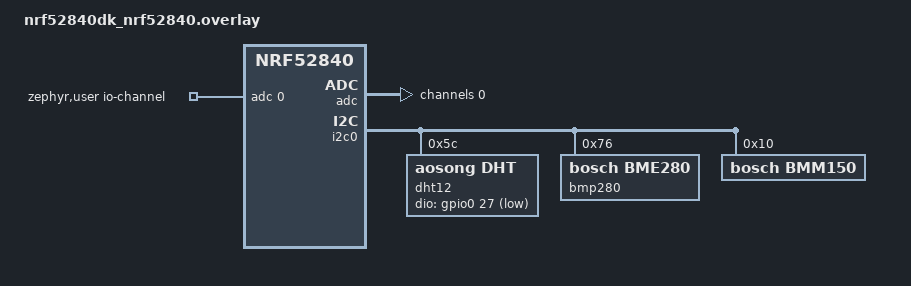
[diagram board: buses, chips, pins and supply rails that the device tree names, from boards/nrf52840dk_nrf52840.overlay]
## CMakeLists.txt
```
# SPDX-License-Identifier: Apache-2.0

cmake_minimum_required(VERSION 3.20.0)
find_package(Zephyr REQUIRED HINTS $ENV{ZEPHYR_BASE})
project(odysseus_chartreusse_sensor_node)

# Including all of the source files
FILE(GLOB app_sources src/*.c)

target_sources(app PRIVATE ${app_sources})
```

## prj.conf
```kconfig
# Enable Bluetooth
CONFIG_BT=y
CONFIG_BT_SHELL=y
CONFIG_BT_DEVICE_NAME="SensorNode-ODYSSEUS_CHARTREUSE"
CONFIG_BT_PERIPHERAL=y
CONFIG_BT_OBSERVER=y
#CONFIG_BT_BROADCASTER=y
CONFIG_BT_EXT_ADV=y

CONFIG_BT_EXT_ADV_MAX_ADV_SET=2
CONFIG_BT_USER_PHY_UPDATE=y
CONFIG_BT_CTLR_ADVANCED_FEATURES=y
# Enable Advertising Data chaining in Zephyr Bluetooth LE Controller
CONFIG_BT_CTLR_ADV_DATA_CHAIN=y
CONFIG_BT_CTLR_ADV_DATA_LEN_MAX=1650
# Increase Advertising PDU buffers to number of advertising sets times the
# number of chain PDUs per advertising set when using Zephyr Bluetooth LE
# Controller
CONFIG_BT_CTLR_ADV_DATA_BUF_MAX=16
# Maximum Extended Scanning buffer size
CONFIG_BT_EXT_SCAN_BUF_SIZE=1650
# Set maximum scan data length for Extended Scanning in Bluetooth LE Controller
CONFIG_BT_CTLR_SCAN_DATA_LEN_MAX=1650
# The Zephyr Controller does not combine all the 1650 bytes before
# fragmenting into 8 HCI reports, if a PDU has 255 bytes,
# it will generate 2 HCI reports and so we need to reserve 16 buffers. Was 16.
CONFIG_BT_BUF_EVT_RX_COUNT=16
# Increase Zephyr Bluetooth LE Controller Rx buffer to receive complete chain of PDUs. Was 9
CONFIG_BT_CTLR_RX_BUFFERS=16
CONFIG_MAIN_STACK_SIZE=4096

# Enable Sensing
CONFIG_SENSOR=y
CONFIG_GPIO=y
CONFIG_DHT=y
CONFIG_BME280=y
CONFIG_BMM150=y
CONFIG_BMM150_PRESET_REGULAR=y

# General
CONFIG_LOG=y
CONFIG_LOG_CMDS=y
CONFIG_I2C=y
CONFIG_ADC=y
CONFIG_SHELL=y
CONFIG_I2C_SHELL=y
CONFIG_ADC_SHELL=y
CONFIG_SENSOR_SHELL=y
#CONFIG_ASSERT=y
```

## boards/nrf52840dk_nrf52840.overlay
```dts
&adc {
	#address-cells = <1>;
	#size-cells = <0>;

	channel@0 {
		reg = <0>;
		zephyr,gain = "ADC_GAIN_1_2";
		zephyr,reference = "ADC_REF_INTERNAL";
		zephyr,acquisition-time = <ADC_ACQ_TIME_DEFAULT>;
		zephyr,input-positive = <NRF_SAADC_AIN1>; /* P0.03 */
		zephyr,resolution = <12>;
	};
};

&i2c0 {
	ht0: dht@5c {
		compatible = "aosong,dht";
		label = "dht12";
		reg = <0x5c>;
		dio-gpios = <&gpio0 27 (GPIO_ACTIVE_LOW | GPIO_PULL_UP)>;
		status = "okay";
	};
	
	press0: bmp280@76 {
		compatible = "bosch,bme280";
		label = "bmp280";
		reg = <0x76>;
		status = "okay";
		//supply-gpios = <&gpio0 27 GPIO_ACTIVE_HIGH>;
	};
	
	mag0: bmm150@10 {
		compatible = "bosch,bmm150";
		label = "bmm150";
		reg = <0x10>;
		status = "okay";
		//supply-gpios = <&gpio0 27 GPIO_ACTIVE_HIGH>;
		//drdy-gpios = <&gpio0 26 GPIO_ACTIVE_HIGH>;
	};
};

/ {
	zephyr,user {
		io-channels = <&adc 0>;//, <&adc 1>, <&adc 7>;
	};

	aliases {
		ht0 = &ht0;
		press0 = &press0;
	};
};
```

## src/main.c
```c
#include <zephyr/kernel.h>
#include <zephyr/logging/log.h>

#include "bt_handler.h"
#include "rb_sync.h"
#include "sensors.h"
#include "sys_time.h"

LOG_MODULE_REGISTER(Main);

extern struct k_msgq sample_stream;

int main(void) {
	SensorLoad sl;

	while(1) {
		if(rbs_data_available()) {
			if(!rbs_get(&sl)) {
				k_msgq_put(&sample_stream, &sl, K_FOREVER);
				LOG_INF("Sensors:\r\n-----\r\nTime: %d\r\nReading Index: %d\r\nSoil Moisture: %d\r\nTemperature: %d\r\nPressure: %d\r\n",
						sl.timestamp, sl.counter, sl.soil_moisture, sl.temp, sl.pressure + (100 * 1000));
			}
		}
		k_msleep(1000);
	}
}
```

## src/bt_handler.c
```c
#include "bt_handler.h"
#include "zephyr/bluetooth/gap.h"

LOG_MODULE_REGISTER(BluetoothHandler);

K_SEM_DEFINE(config_data, 1, 1); // Semaphore for synchronization
K_MSGQ_DEFINE(sample_stream, sizeof(SensorLoad), 10, 1);

uint8_t polling_flag = 1; // Determines poll rate, ignored for now 

// Custom sensor data payload, length + 5 bytes < 255
__aligned(4) static uint8_t adv_payload[PAYLOAD_SIZE] = {0};  
// To use max of 1650, define multuple adv_payloads, and add in ad[] below (TBD)
__aligned(4) static uint8_t adv_payload_two[PAYLOAD_SIZE] = {0}; // For future use
__aligned(4) static uint8_t adv_payload_three[PAYLOAD_SIZE] = {0}; // For future use
// static uint8_t adv_payload_4[240]; // For future use

uint8_t* payloads[NUM_PAYLOADS] = {adv_payload, adv_payload_two, adv_payload_three};

static struct bt_data ad[] = {
    BT_DATA_BYTES(BT_DATA_FLAGS, (BT_LE_AD_GENERAL | BT_LE_AD_NO_BREDR)),
    BT_DATA(BT_DATA_NAME_COMPLETE, DEVICE_NAME, sizeof(DEVICE_NAME) - 1),
    BT_DATA(BT_DATA_MANUFACTURER_DATA, adv_payload, sizeof(adv_payload)),
    BT_DATA(BT_DATA_MANUFACTURER_DATA, adv_payload_two, sizeof(adv_payload_two)),
    BT_DATA(BT_DATA_MANUFACTURER_DATA, adv_payload_three, sizeof(adv_payload_three)),
    // BT_DATA(BT_DATA_MANUFACTURER_DATA, adv_payload_4, sizeof(adv_payload_4)),
};

// void shit_me_out(void) {
// 	for(int i = 0; i < NUM_PAYLOADS; i++) {
// 		for(int j = 0; j < PAYLOAD_SIZE; j++) {
// 			printk("%02x ", payloads[i][j]);
// 		}
// 		printk("\r\n");
// 	}
// 	printk("\r\n");
// }

static struct bt_le_ext_adv *adv_set;

void init_adv_payload(void) {
	k_sem_take(&config_data, K_FOREVER);
	// Remaining bytes can remain zero
	for(int j = 0; j < NUM_PAYLOADS; j++) {
		for(int i = 0; i < PAYLOAD_SIZE; i++) {
			if(j == 0 && i == 0) payloads[j][i] = SENSOR_NODE_ID;
			else payloads[j][i] = 0;
		}
	}
	k_sem_give(&config_data);
}

void update_adv_data(SensorLoad sample, uint16_t index) {
	index++;
	uint8_t packet = (index * sizeof(sample)) / PAYLOAD_SIZE;
	uint8_t packet_index = (index * sizeof(sample)) % PAYLOAD_SIZE;
	LOG_INF("Packet: %d; Packet index: %d\n", packet, packet_index);
	uint8_t* byte_stream = (void*)&sample;
    k_sem_take(&config_data, K_FOREVER);
	for(uint8_t i = 0; i < sizeof(sample); i++) {
		payloads[packet][packet_index + i] = byte_stream[i];
	}
    k_sem_give(&config_data);
}

static bool parse_ad_data(struct bt_data *data, void *user_data) {

    if (data->type == BT_DATA_MANUFACTURER_DATA && data->data_len >= 5) {
        k_sem_take(&config_data, K_FOREVER); 
        const uint8_t *payload = data->data;

        // Based on the above, extract current_time_ms
        uint32_t newtime = (payload[0] | (payload[1] << 8) | (payload[2] << 16) | (payload[3] << 24));
        int32_t time_delta = (int32_t)(newtime - get_sys_time());

        if (time_delta > MIN_INTERVAL_FOR_UPDATES || time_delta < -MIN_INTERVAL_FOR_UPDATES || get_polling_rate() != payload[4]) {
            LOG_INF("[SENSORNODE-LOG] Received new time: %u, Polling flag: %u\n", newtime, payload[4]);
            update_sys_time(newtime * 1000);
            update_polling_rate(payload[4]);
        }
        k_sem_give(&config_data);
    }
    return true;
}

static void device_found(const bt_addr_le_t *addr, int8_t rssi, uint8_t type, struct net_buf_simple *ad) {
	
    if (rssi < RSSI_THRESHOLD || type == BT_GAP_ADV_TYPE_EXT_ADV) {
		return; // Ignore weak signals
	}
	char addr_str[BT_ADDR_LE_STR_LEN];
	bt_addr_le_to_str(addr, addr_str, sizeof(addr_str));

	// Parse the advertisement data if the device is of interest
    if (strcmp(addr_str, MOBILE_NODE_MAC_ADDR) == 0) {
        bt_data_parse(ad, parse_ad_data, NULL);
        k_sleep(K_MSEC(1000));
        //return;
    }
}

void bt_handler_t(void) {
	int err;

	// For Extended Advertising
    struct bt_le_adv_param adv_params = BT_LE_ADV_PARAM_INIT(
        BT_LE_ADV_OPT_EXT_ADV | BT_LE_ADV_OPT_USE_IDENTITY,
        BT_GAP_ADV_FAST_INT_MIN_2,
        BT_GAP_ADV_FAST_INT_MAX_2,
        NULL);
    
    // For Observing
    struct bt_le_scan_param scan_param = {
		.type       = BT_LE_SCAN_TYPE_PASSIVE,
		.interval   = BT_GAP_SCAN_FAST_INTERVAL,
		.window     = BT_GAP_SCAN_FAST_WINDOW,
	};

    LOG_INF("[SENSORNODE-LOG] Starting SensorNode BLE extended advertiser\n");

    err = bt_enable(NULL);
    if (err) {
        LOG_ERR("Bluetooth init failed (err %d)\n", err);
        return;
    }

    LOG_INF("[SENSORNODE-LOG] Bluetooth initialized\n");

    init_adv_payload();

    err = bt_le_ext_adv_create(&adv_params, NULL, &adv_set);
    if (err) {
        LOG_ERR("Failed to create extended advertiser (err %d)\n", err);
        return;
    }

    err = bt_le_ext_adv_set_data(adv_set, ad, ARRAY_SIZE(ad), NULL, 0);
    if (err) {
        LOG_ERR("Failed to set extended adv data (err %d)\n", err);
        return;
    }

    err = bt_le_ext_adv_start(adv_set, BT_LE_EXT_ADV_START_DEFAULT);
    if (err) {
        LOG_ERR("Failed to start extended advertising (err %d)\n", err);
        return;
    }

    LOG_INF("[SENSORNODE-LOG] Extended advertising started\n");

    err = bt_le_scan_start(&scan_param, device_found);
	if (err) {
		LOG_ERR("Start scanning failed (err %d)\n", err);
		return;
	}
	LOG_INF("[SENSORNODE-LOG] Started scanning...\n");

	int index = 0;

	while(1) {
        bt_le_ext_adv_stop(adv_set);
        k_msleep(100); // Short delay for service to stop

		int num_samples = k_msgq_num_used_get(&sample_stream);
		if(num_samples) LOG_INF("[SENSORNODE-LOG] Updating advertisement data...\n");
		for(int i = 0; i < num_samples; i++) {
			SensorLoad sample;
			k_msgq_get(&sample_stream, &sample, K_FOREVER);
			LOG_INF("Index: %d", index);
			update_adv_data(sample, index);
			index = (index + 1) % (PAYLOAD_SIZE * NUM_PAYLOADS / sizeof(sample) - 1);
		}
   
        err = bt_le_ext_adv_set_data(adv_set, ad, ARRAY_SIZE(ad), NULL, 0);
        if (err) {
            LOG_ERR("Failed to update extended adv data (err %d)\n", err);
            return;
        }

        err = bt_le_ext_adv_start(adv_set, BT_LE_EXT_ADV_START_DEFAULT);
        if (err) {
            LOG_ERR("Failed to start extended advertising (err %d)\n", err);
            return;
        }

        k_msleep(SENSOR_ADV_INTERVAL_MS - 100);
	}
}

K_THREAD_DEFINE(bt_handler_id, STACK_SIZE, bt_handler_t, NULL, NULL, NULL, PRIORITY, 0, 0);
```

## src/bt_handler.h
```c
#ifndef BT_HANDLER_H_
#define BT_HANDLER_H_

#include <zephyr/bluetooth/bluetooth.h>
#include <zephyr/bluetooth/hci.h>
#include <zephyr/bluetooth/uuid.h>
#include <zephyr/bluetooth/gap.h>
#include <zephyr/kernel.h>
#include <zephyr/logging/log.h>

#include "sensors.h"
#include "sys_time.h"
#include "utils.h"

#define DEVICE_NAME "SensorNode-OC"
#define SENSOR_ADV_INTERVAL_MS 1000
#define NAME_LEN 30
#define RSSI_THRESHOLD -50 // RSSI threshold for filtering devices
#define MOBILE_NODE_MAC_ADDR "DC:B1:BE:10:38:1E (random)" // MAC address of Mobile Node
#define MIN_INTERVAL_FOR_UPDATES 10 // Minimum interval in seconds for updates

#define SENSOR_NODE_ID 0x01

#define PAYLOAD_SIZE 240
#define NUM_PAYLOADS 3

#endif
```

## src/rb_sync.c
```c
#include "rb_sync.h"

LOG_MODULE_DECLARE(Main);

RING_BUF_DECLARE(sp_buffer, SP_BUFFER_SIZE);

K_SEM_DEFINE(spb_protect, 1, 1);

uint8_t rbs_put(SensorLoad* packet) {
	uint8_t* data = (void*)packet;
	uint32_t size = sizeof(*packet);
	if(!k_sem_take(&spb_protect, K_FOREVER)) {
		ring_buf_put(&sp_buffer, data, size);
		k_sem_give(&spb_protect);
		return 0;
	}
	return 1;
}

uint8_t rbs_get(SensorLoad* packet_buffer) {
	if(!k_sem_take(&spb_protect, K_FOREVER)) {
		uint32_t size = sizeof(*packet_buffer);
		uint8_t data[size];
		ring_buf_get(&sp_buffer, data, size);
		k_sem_give(&spb_protect);
		memcpy(packet_buffer, data, size);
		return 0;
	}
	return 1;
}

bool rbs_data_available(void) {
	return ring_buf_size_get(&sp_buffer) != 0;
}
```

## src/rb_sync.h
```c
#ifndef RB_SYNC_H_
#define RB_SYNC_H_

#include <zephyr/sys/ring_buffer.h>
#include <zephyr/logging/log.h>
#include <zephyr/kernel.h>

#include "utils.h"

#define SP_BUFFER_ITEM_LENGTH 60
#define SP_BUFFER_SIZE (SP_BUFFER_ITEM_LENGTH * sizeof(SensorLoad))

uint8_t rbs_put(SensorLoad* packet);
uint8_t rbs_get(SensorLoad* packet);
bool rbs_data_available(void);

#endif
```

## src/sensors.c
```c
#include "sensors.h"

LOG_MODULE_REGISTER(SensorData);

static const struct adc_dt_spec adc_channel = ADC_DT_SPEC_GET_BY_IDX(DT_PATH(zephyr_user), 0);

int polling_rate = 3;

void update_polling_rate(int rate) {
	polling_rate = rate;
}

int get_polling_rate(void) {
	return polling_rate;
}

int sensor_t(void) {
	const struct device* const humtemp = device_get_binding("dht12");
	const struct device* const press = device_get_binding("bmp280");
	const struct device* const mag = device_get_binding("bmm150");

	printk("Device Pointer DHT: %p\n", humtemp);
	printk("Device Pointer BMP: %p\n", press);
	printk("Device Pointer BMM: %p\n", mag);
	if(!device_is_ready(humtemp)) {
		LOG_ERR("DHT12: Device not ready.\n");
	}
	if(!device_is_ready(press)) {
		LOG_ERR("BMP280: Device not ready.\n");
	}
	if(!device_is_ready(mag)) {
		LOG_ERR("BMM150: Device not ready.\n");
	}
	
	if(!adc_is_ready_dt(&adc_channel)) {
		LOG_ERR("ADC Controller %s is not ready\n", adc_channel.dev->name);
	}

	int err = adc_channel_setup_dt(&adc_channel);
	if(err) {
		LOG_ERR("Couldn't set up adc channel, code %d", err);
	}

	struct sensor_value hum_val;
	struct sensor_value temp_val;
	struct sensor_value press_val;
	struct sensor_value mag_val;

	uint16_t buf;
	struct adc_sequence sequence = {
		.buffer = &buf,
		/* buffer size in bytes, not number of samples */
		.buffer_size = sizeof(buf),
	};

	uint16_t reading_index = 0;
	while(true) {
		SensorLoad sl;
		(void)adc_sequence_init_dt(&adc_channel, &sequence);

		err = adc_read_dt(&adc_channel, &sequence);
		if (err < 0) {
			printk("Could not read (%d)\n", err);
			continue;
		}
		
		sl.soil_moisture = buf;
		int32_t val_mv = (int32_t)buf;
		err = adc_raw_to_millivolts_dt(&adc_channel, &val_mv);
		LOG_INF("Soil Moisture (ADC Channel %d): %d (%d mV)\n", 
				adc_channel.channel_id, (int32_t)buf, val_mv);

//		// Humidity Temp
//		if(sensor_sample_fetch(humtemp)) {
//			LOG_WRN("DHT12: Sensor unable to fetch.\n");
//		}
//
//		sensor_channel_get(humtemp, SENSOR_CHAN_HUMIDITY, &hum_val);
//		int64_t humidity = sensor_value_to_micro(&hum_val);
//		if (humidity != 0) LOG_INF("DHT12 Hum: %lld\n", humidity);
//
//		sensor_channel_get(humtemp, SENSOR_CHAN_AMBIENT_TEMP, &temp_val);
//		int64_t temperature = sensor_value_to_milli(&temp_val);
//		if (temperature != 0) LOG_INF("DHT12 Temp: %lld\n", temperature);

		// Pressure
		if(sensor_sample_fetch(press)) {
			LOG_WRN("BMP280: Sensor unable to fetch.\n");
		}

		sensor_channel_get(press, SENSOR_CHAN_PRESS, &press_val);
		int64_t pressure = sensor_value_to_micro(&press_val);
		if (pressure != 0) LOG_INF("BMP280 Press: %lld.%06lld\n", pressure / MICRO_SCALING, pressure % MICRO_SCALING);
		sl.pressure = (pressure / 1000) - (100 * 1000);

		sensor_channel_get(press, SENSOR_CHAN_AMBIENT_TEMP, &temp_val);
		int64_t temperature = sensor_value_to_micro(&temp_val);
		if (temperature != 0) LOG_INF("BMP280 Temp: %lld.%06lld\n", temperature / MICRO_SCALING, temperature % MICRO_SCALING);
		sl.temp = temperature / 1000;
	
		sl.timestamp = get_sys_time();
		sl.counter = reading_index;
		rbs_put(&sl);
		reading_index++;

//		// Magnetic
//		if(sensor_sample_fetch(press)) {
//			//LOG_WRN("BMM150: Sensor unable to fetch.\n");
//		}
//
//		sensor_channel_get(mag, SENSOR_CHAN_MAGN_X, &mag_val);
//		int64_t magnet = sensor_value_to_milli(&mag_val);
//		if (magnet != 0) LOG_INF("BMM150 Mag: %lld\n", magnet);

		k_msleep(polling_rate * 1000);
	}

	return 0;
}

K_THREAD_DEFINE(sensor_id, STACK_SIZE, sensor_t, NULL, NULL, NULL, PRIORITY, 0, 0);
```

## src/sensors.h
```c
#ifndef SENSORS_H_
#define SENSORS_H_

#include <zephyr/drivers/sensor.h>
#include <zephyr/kernel.h>
#include <zephyr/logging/log.h>
#include <zephyr/drivers/adc.h>

#include "rb_sync.h"
#include "sys_time.h"
#include "utils.h"

#define MICRO_SCALING 1000000

void update_polling_rate(int rate);
int get_polling_rate(void);

#endif
```

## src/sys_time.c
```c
#include "sys_time.h"

LOG_MODULE_DECLARE(Main);

K_SEM_DEFINE(timer_protect, 0, 1);

volatile uint32_t current_time = 0;

static struct k_timer msec_timer;

void timer_handler(struct k_timer* dummy) {
	k_sem_take(&timer_protect, K_FOREVER);
	current_time++;
	k_sem_give(&timer_protect);
}

uint32_t get_sys_time(void) {
	k_sem_take(&timer_protect, K_FOREVER);
	uint32_t time = current_time;
	k_sem_give(&timer_protect);
	return time;
}

void update_sys_time(uint32_t time_ms) {
	k_sem_take(&timer_protect, K_FOREVER);
	current_time = time_ms;
	k_sem_give(&timer_protect);
}

void timer_management_t(void) {
	k_timer_init(&msec_timer, timer_handler, NULL);
	k_timer_start(&msec_timer, K_MSEC(1), K_MSEC(1));
	k_sem_give(&timer_protect);
	
	while(1) {
		k_msleep(100);
	}

}

K_THREAD_DEFINE(timer_man_id, STACK_SIZE, timer_management_t, NULL, NULL, NULL, PRIORITY, 0, 0);
```

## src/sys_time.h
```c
#ifndef SYS_TIME_C_
#define SYS_TIME_C_

#include <zephyr/logging/log.h>
#include <zephyr/kernel.h>

#include "utils.h"

uint32_t get_sys_time(void);
void update_sys_time(uint32_t time_ms);

#endif
```

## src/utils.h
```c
#ifndef SENSOR_UTILS_H_
#define SENSOR_UTILS_H_

#include <stdint.h>

/* Use 1KiB Stack */
#define STACK_SIZE 1024

/* Consistent Priority */
#define PRIORITY 7

typedef struct {
	uint32_t timestamp;
	uint16_t counter;
	uint16_t soil_moisture;
	uint16_t temp;
	int16_t pressure;
} SensorLoad;

#endif
```
